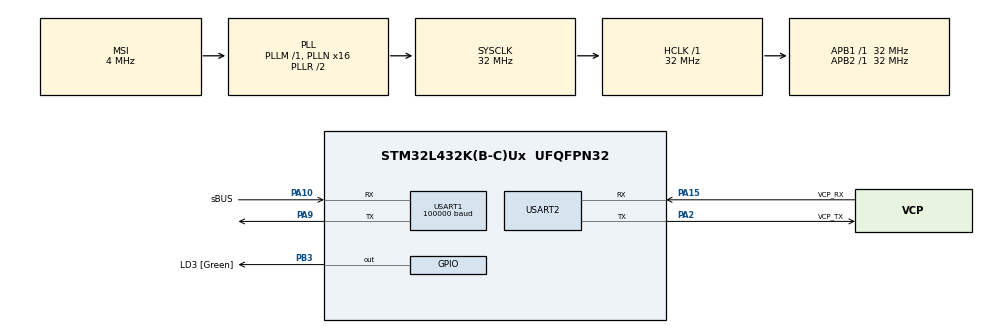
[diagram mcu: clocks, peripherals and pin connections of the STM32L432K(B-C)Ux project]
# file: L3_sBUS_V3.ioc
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Dma.Request0=USART1_RX
Dma.USART1_RX.0.Direction=DMA_PERIPH_TO_MEMORY
Dma.USART1_RX.0.Instance=DMA1_Channel5
Dma.USART1_RX.0.MemDataAlignment=DMA_MDATAALIGN_BYTE
Dma.USART1_RX.0.MemInc=DMA_MINC_ENABLE
Dma.USART1_RX.0.Mode=DMA_NORMAL
Dma.USART1_RX.0.PeriphDataAlignment=DMA_PDATAALIGN_BYTE
Dma.USART1_RX.0.PeriphInc=DMA_PINC_DISABLE
Dma.USART1_RX.0.Priority=DMA_PRIORITY_LOW
Mcu.Family=STM32L4
Mcu.Name=STM32L432K(B-C)Ux
Mcu.Package=UFQFPN32
NVIC.DMA1_Channel5_IRQn=true\:0\:0\:false\:false\:true\:false\:true\:true
NVIC.PriorityGroup=NVIC_PRIORITYGROUP_4
NVIC.USART1_IRQn=true\:0\:0\:false\:false\:true\:true\:true\:true
PA0.GPIO_Label=MCO [High speed clock in]
PA0.Mode=HSE-External-Clock-Source-for-LittleOrca
PA0.Signal=RCC_CK_IN
PA10.GPIO_Label=sBUS
PA10.Mode=Asynchronous
PA10.Signal=USART1_RX
PA13\ (JTMS-SWDIO).GPIO_Label=SWDIO
PA13\ (JTMS-SWDIO).Mode=Serial_Wire
PA13\ (JTMS-SWDIO).Signal=SYS_JTMS-SWDIO
PA14\ (JTCK-SWCLK).GPIO_Label=SWCLK
PA14\ (JTCK-SWCLK).Mode=Serial_Wire
PA14\ (JTCK-SWCLK).Signal=SYS_JTCK-SWCLK
PA15\ (JTDI).GPIO_Label=VCP_RX
PA15\ (JTDI).Mode=Asynchronous
PA15\ (JTDI).Signal=USART2_RX
PA2.GPIO_Label=VCP_TX
PA2.Mode=Asynchronous
PA2.Signal=USART2_TX
PA9.Mode=Asynchronous
PA9.Signal=USART1_TX
PB3\ (JTDO-TRACESWO).GPIO_Label=LD3 [Green]
PB3\ (JTDO-TRACESWO).Signal=GPIO_Output
PC14-OSC32_IN\ (PC14).Mode=LSE-External-Oscillator
PC14-OSC32_IN\ (PC14).Signal=RCC_OSC32_IN
PC15-OSC32_OUT\ (PC15).Mode=LSE-External-Oscillator
PC15-OSC32_OUT\ (PC15).Signal=RCC_OSC32_OUT
ProjectManager.HeapSize=0x200
ProjectManager.StackSize=0x400
ProjectManager.TargetToolchain=STM32CubeIDE
RCC.AHBFreq_Value=32000000
RCC.APB1Freq_Value=32000000
RCC.APB1TimFreq_Value=32000000
RCC.APB2Freq_Value=32000000
RCC.APB2TimFreq_Value=32000000
RCC.CortexFreq_Value=32000000
RCC.HCLKFreq_Value=32000000
RCC.HSE_VALUE=8000000
RCC.HSI16_VALUE=16000000
RCC.HSI48_VALUE=48000000
RCC.HSI_VALUE=16000000
RCC.MSI_VALUE=4000000
RCC.PLLMUL=RCC_PLLMUL_4
RCC.PLLN=16
RCC.SYSCLKFreq_VALUE=32000000
RCC.SYSCLKSource=RCC_SYSCLKSOURCE_PLLCLK
RCC.VCOOutputFreq_Value=64000000
USART1.BaudRate=100000
USART1.Mode=MODE_RX
USART1.Parity=PARITY_EVEN
USART1.RxPinLevelInvertParam=ADVFEATURE_RXINV_ENABLE
USART1.StopBits=STOPBITS_2
USART1.VirtualMode-Asynchronous=VM_ASYNC
USART1.WordLength=WORDLENGTH_9B
USART2.VirtualMode-Asynchronous=VM_ASYNC
board=NUCLEO-L432KC

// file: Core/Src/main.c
/* USER CODE BEGIN Header */
/**
  ******************************************************************************
  * @file           : main.c
  * @brief          : Main program body
  ******************************************************************************
  * @attention
  *
  * Copyright (c) 2024 STMicroelectronics.
  * All rights reserved.
  *
  * This software is licensed under terms that can be found in the LICENSE file
  * in the root directory of this software component.
  * If no LICENSE file comes with this software, it is provided AS-IS.
  *
  ******************************************************************************
  */

/*
 * Configuration UART
 * - Mode: 					asynchronously
 * - Baud Rate: 			100000
 * - Word Length: 			8 bits
 * - Stop Bits: 			1
 * - Parity: 				None
 * - Hardware Flow Control: None
 *
 * Receiving sBUS Data
 * - 25 bytes long frame (start byte and a checksum)
 * - start byte (0x0F)
 *
 * Help: (decoding sBUS)
 * - chatgpt: stm32 L4 logic to process the SBUS data
 * - cubeIDE stm32 dont jump into void HAL_UARTEx_RxEventCallback(UART_HandleTypeDef *huart, uint16_t Size)
 */

/*
 * sBUS Frame Description
 * [Byte 1] --> Start byte (0x0F)
 *  - 1 byte (fixed)
 *
 * [Byte 2-23] --> Channel data (16 channels)
 *  - 2 bytes for each channel, little-endian, range 0 to 1023 (10-bit data)
 *
 * [Byte 24] --> Flags byte (flags and failsafe)
 *  - 1 byte (status flags)
 * 	- (bit 0)......Failsafe status		:Indicates if the receiver is in failsafe mode (0 = normal, 1 = failsafe)
	- (bit 1)......Lost Frame			:Indicates whether a frame was lost (1 = lost, 0 = received)
	- (bits 2-5)...Ch 17 and 18 status  :These bits are often used for additional features like telemetry or other system status information (may not always be used)
	- (bits 6-7)...Reserved/Other flags	:Can be used for other future features or to store additional flags

 * [Byte 25] --> End byte (0x00)
 *  - 1 byte (fixed)
 *  - This byte is always 0x00, marks the end of the frame
 */

/* USER CODE END Header */
#include "main.h"

/* USER CODE BEGIN Includes */
#include "stdio.h"
#include "string.h"
/* USER CODE END Includes */

/* USER CODE BEGIN PD */

#define SBUS_FRAME_LENGTH 25
#define SBUS_CHANNEL_COUNT 16

/* USER CODE END PD */

UART_HandleTypeDef huart1;
UART_HandleTypeDef huart2;
DMA_HandleTypeDef hdma_usart1_rx;

/* USER CODE BEGIN PV */

// Array for received sBUS Data
uint8_t sbusData[SBUS_FRAME_LENGTH];

// Array for sBUS channels
uint16_t sbusChannels[SBUS_CHANNEL_COUNT];

// Flags byte (Byte 24)
uint8_t flags;
uint8_t failsafe;		// Failsafe
uint8_t lost_frame;		// Lost Frame

// UART2 Transmit Variables
char txbuffer[14];
char txnewline[3];

/* USER CODE END PV */

void SystemClock_Config(void);
static void MX_GPIO_Init(void);
static void MX_DMA_Init(void);
static void MX_USART2_UART_Init(void);
static void MX_USART1_UART_Init(void);

/* USER CODE BEGIN 0 */

// Checks received frame and extracts sBUS channels
void extractSbusChannels(uint16_t size, const uint8_t *sbusData, uint16_t *sbusChannels)
{
    if (sbusData == NULL || sbusChannels == NULL)
    {
        return;
    }

	// Checks Frame before extraction: [Frame Length], [Start Byte], [Flags], [End Byte]
	if ( (size == SBUS_FRAME_LENGTH) && (sbusData[0] == 0x0F) && (sbusData[23] == 0x00) && (sbusData[24] == 0x00))
	{
		// Extraction of sBUS channels
		sbusChannels[0]	= (sbusData[1] >> 0 | (sbusData[2] << 8)) & 0x07FF;
		sbusChannels[1] = (sbusData[2] >> 3 | (sbusData[3] << 5)) & 0x07FF;
		sbusChannels[2] = (sbusData[3] >> 6 | (sbusData[4] << 2) | sbusData[5] << 10) & 0x07FF;
		sbusChannels[3] = (sbusData[5] >> 1 | (sbusData[6] << 7)) & 0x07FF;
		sbusChannels[4] = (sbusData[6] >> 4 | (sbusData[7] << 4)) & 0x07FF;
		sbusChannels[5] = (sbusData[7] >> 7 | (sbusData[8] << 1) | sbusData[9] << 9) & 0x07FF;
		sbusChannels[6] = (sbusData[9] >> 2 | (sbusData[10] << 6)) & 0x07FF;
		sbusChannels[7] = (sbusData[10] >> 5 | (sbusData[11] << 3)) & 0x07FF;
		sbusChannels[8] = (sbusData[12] << 0 | (sbusData[13] << 8)) & 0x07FF;
		sbusChannels[9] = (sbusData[13] >> 3 | (sbusData[14] << 5)) & 0x07FF;
		sbusChannels[10] = (sbusData[14] >> 6 | (sbusData[15] << 2) | sbusData[16] << 10) & 0x07FF;
		sbusChannels[11] = (sbusData[16] >> 1 | (sbusData[17] << 7)) & 0x07FF;
		sbusChannels[12] = (sbusData[17] >> 4 | (sbusData[18] << 4)) & 0x07FF;
		sbusChannels[13] = (sbusData[18] >> 7 | (sbusData[19] << 1) | sbusData[20] << 9) & 0x07FF;
		sbusChannels[14] = (sbusData[20] >> 2 | (sbusData[21] << 6)) & 0x07FF;
		sbusChannels[15] = (sbusData[21] >> 5 | (sbusData[22] << 3)) & 0x07FF;
	}
	else
	{
		// Flags byte (byte 24)
		flags = sbusData[23];

		if (flags & 0x01)
		{
			// Failsafe triggered
			// Handle failsafe condition
			// For example, set a flag, log the event, or revert to a safe state
			// Count errors
		}
		if (flags & 0x08)
		{
			// Frame lost
			// Handle frame loss condition
			// You may want to log this or take action to recover
			// Count errors
		}
	}

	//
}

void HAL_UARTEx_RxEventCallback(UART_HandleTypeDef *huart, uint16_t size)
{
    if (huart->Instance == USART1)
    {
    	extractSbusChannels(size, sbusData, sbusChannels);

        // Restart DMA reception
        HAL_UARTEx_ReceiveToIdle_DMA(&huart1, sbusData, SBUS_FRAME_LENGTH);
    }
}

void DisplaySBUSChannels(void)
{
	//sprintf(txbuffer, "CH1: %04x | CH2: %04x | CH3: %04x | CH4: %04x | CH5: %04x | CH6: %04x | CH7: %04x | CH8: %04x | CH9: %04x | CH10: %04x | CH11: %04x | CH12: %04x | CH13: %04x | CH14: %04x | CH15: %04x | CH16: %04x \r\n", sbusChannels[0], sbusChannels[1], sbusChannels[2], sbusChannels[3], sbusChannels[4], sbusChannels[5], sbusChannels[6], sbusChannels[7], sbusChannels[8], sbusChannels[9], sbusChannels[10], sbusChannels[11], sbusChannels[12], sbusChannels[13], sbusChannels[14], sbusChannels[15]);
	for(int i = 0; i < 16; i++)
	{
		// Clear the string by setting all elements to '\0'
		memset(txbuffer, '\0', sizeof(txbuffer));

		sprintf(txbuffer, "CH%02d: %04x | ", i+1, sbusChannels[i]);
		HAL_UART_Transmit(&huart2, (uint8_t*) txbuffer, sizeof(txbuffer), HAL_MAX_DELAY);
	}

	sprintf(txnewline, "\r\n");
	HAL_UART_Transmit(&huart2, (uint8_t*) txnewline, sizeof(txnewline), HAL_MAX_DELAY);
}

/* USER CODE END 0 */

int main(void)
{

  /* MCU Configuration--------------------------------------------------------*/

  /* Reset of all peripherals, Initializes the Flash interface and the Systick. */
  HAL_Init();

  /* Configure the system clock */
  SystemClock_Config();

  /* Initialize all configured peripherals */
  MX_GPIO_Init();
  MX_DMA_Init();
  MX_USART2_UART_Init();
  MX_USART1_UART_Init();
  /* USER CODE BEGIN 2 */

  // Start DMA reception
   HAL_UARTEx_ReceiveToIdle_DMA(&huart1, sbusData, SBUS_FRAME_LENGTH);
  /* USER CODE END 2 */

  /* Infinite loop */
  /* USER CODE BEGIN WHILE */
  while (1)
  {
	  DisplaySBUSChannels();
	  HAL_Delay(100);

    /* USER CODE END WHILE */

  }
}

void SystemClock_Config(void)
{
  RCC_OscInitTypeDef RCC_OscInitStruct = {0};
  RCC_ClkInitTypeDef RCC_ClkInitStruct = {0};

  /** Configure the main internal regulator output voltage
  */
  if (HAL_PWREx_ControlVoltageScaling(PWR_REGULATOR_VOLTAGE_SCALE1) != HAL_OK)
  {
    Error_Handler();
  }

  /** Configure LSE Drive Capability
  */
  HAL_PWR_EnableBkUpAccess();
  __HAL_RCC_LSEDRIVE_CONFIG(RCC_LSEDRIVE_LOW);

  /** Initializes the RCC Oscillators according to the specified parameters
  * in the RCC_OscInitTypeDef structure.
  */
  RCC_OscInitStruct.OscillatorType = RCC_OSCILLATORTYPE_LSE|RCC_OSCILLATORTYPE_MSI;
  RCC_OscInitStruct.LSEState = RCC_LSE_ON;
  RCC_OscInitStruct.MSIState = RCC_MSI_ON;
  RCC_OscInitStruct.MSICalibrationValue = 0;
  RCC_OscInitStruct.MSIClockRange = RCC_MSIRANGE_6;
  RCC_OscInitStruct.PLL.PLLState = RCC_PLL_ON;
  RCC_OscInitStruct.PLL.PLLSource = RCC_PLLSOURCE_MSI;
  RCC_OscInitStruct.PLL.PLLM = 1;
  RCC_OscInitStruct.PLL.PLLN = 16;
  RCC_OscInitStruct.PLL.PLLP = RCC_PLLP_DIV7;
  RCC_OscInitStruct.PLL.PLLQ = RCC_PLLQ_DIV2;
  RCC_OscInitStruct.PLL.PLLR = RCC_PLLR_DIV2;
  if (HAL_RCC_OscConfig(&RCC_OscInitStruct) != HAL_OK)
  {
    Error_Handler();
  }

  /** Initializes the CPU, AHB and APB buses clocks
  */
  RCC_ClkInitStruct.ClockType = RCC_CLOCKTYPE_HCLK|RCC_CLOCKTYPE_SYSCLK
                              |RCC_CLOCKTYPE_PCLK1|RCC_CLOCKTYPE_PCLK2;
  RCC_ClkInitStruct.SYSCLKSource = RCC_SYSCLKSOURCE_PLLCLK;
  RCC_ClkInitStruct.AHBCLKDivider = RCC_SYSCLK_DIV1;
  RCC_ClkInitStruct.APB1CLKDivider = RCC_HCLK_DIV1;
  RCC_ClkInitStruct.APB2CLKDivider = RCC_HCLK_DIV1;

  if (HAL_RCC_ClockConfig(&RCC_ClkInitStruct, FLASH_LATENCY_1) != HAL_OK)
  {
    Error_Handler();
  }

  /** Enable MSI Auto calibration
  */
  HAL_RCCEx_EnableMSIPLLMode();
}

static void MX_USART1_UART_Init(void)
{

  huart1.Instance = USART1;
  huart1.Init.BaudRate = 100000;
  huart1.Init.WordLength = UART_WORDLENGTH_9B;
  huart1.Init.StopBits = UART_STOPBITS_2;
  huart1.Init.Parity = UART_PARITY_EVEN;
  huart1.Init.Mode = UART_MODE_RX;
  huart1.Init.HwFlowCtl = UART_HWCONTROL_NONE;
  huart1.Init.OverSampling = UART_OVERSAMPLING_16;
  huart1.Init.OneBitSampling = UART_ONE_BIT_SAMPLE_DISABLE;
  huart1.AdvancedInit.AdvFeatureInit = UART_ADVFEATURE_RXINVERT_INIT;
  huart1.AdvancedInit.RxPinLevelInvert = UART_ADVFEATURE_RXINV_ENABLE;
  if (HAL_UART_Init(&huart1) != HAL_OK)
  {
    Error_Handler();
  }

}

static void MX_USART2_UART_Init(void)
{

  huart2.Instance = USART2;
  huart2.Init.BaudRate = 115200;
  huart2.Init.WordLength = UART_WORDLENGTH_8B;
  huart2.Init.StopBits = UART_STOPBITS_1;
  huart2.Init.Parity = UART_PARITY_NONE;
  huart2.Init.Mode = UART_MODE_TX_RX;
  huart2.Init.HwFlowCtl = UART_HWCONTROL_NONE;
  huart2.Init.OverSampling = UART_OVERSAMPLING_16;
  huart2.Init.OneBitSampling = UART_ONE_BIT_SAMPLE_DISABLE;
  huart2.AdvancedInit.AdvFeatureInit = UART_ADVFEATURE_NO_INIT;
  if (HAL_UART_Init(&huart2) != HAL_OK)
  {
    Error_Handler();
  }

}

static void MX_DMA_Init(void)
{

  /* DMA controller clock enable */
  __HAL_RCC_DMA1_CLK_ENABLE();

  /* DMA interrupt init */
  /* DMA1_Channel5_IRQn interrupt configuration */
  HAL_NVIC_SetPriority(DMA1_Channel5_IRQn, 0, 0);
  HAL_NVIC_EnableIRQ(DMA1_Channel5_IRQn);

}

static void MX_GPIO_Init(void)
{
  GPIO_InitTypeDef GPIO_InitStruct = {0};

  /* GPIO Ports Clock Enable */
  __HAL_RCC_GPIOC_CLK_ENABLE();
  __HAL_RCC_GPIOA_CLK_ENABLE();
  __HAL_RCC_GPIOB_CLK_ENABLE();

  /*Configure GPIO pin Output Level */
  HAL_GPIO_WritePin(LD3_GPIO_Port, LD3_Pin, GPIO_PIN_RESET);

  /*Configure GPIO pin : LD3_Pin */
  GPIO_InitStruct.Pin = LD3_Pin;
  GPIO_InitStruct.Mode = GPIO_MODE_OUTPUT_PP;
  GPIO_InitStruct.Pull = GPIO_NOPULL;
  GPIO_InitStruct.Speed = GPIO_SPEED_FREQ_LOW;
  HAL_GPIO_Init(LD3_GPIO_Port, &GPIO_InitStruct);

}

/* USER CODE BEGIN 4 */

//void HAL_TIM_PeriodElapsedCallback(TIM_HandleTypeDef *htim)
//{
//    if (htim->Instance == TIM1)
//    {
//  	  HAL_UART_Transmit(&huart2, data_sBusTest, sizeof(data_sBusTest), 100);
//  	  HAL_UART_Transmit(&huart2, (uint8_t *)crlf, 2, HAL_MAX_DELAY);
//  	  DisplaySBUSChannels();
//    }
//}

/* USER CODE END 4 */

void Error_Handler(void)
{
  __disable_irq();
  while (1)
  {
  }
}
